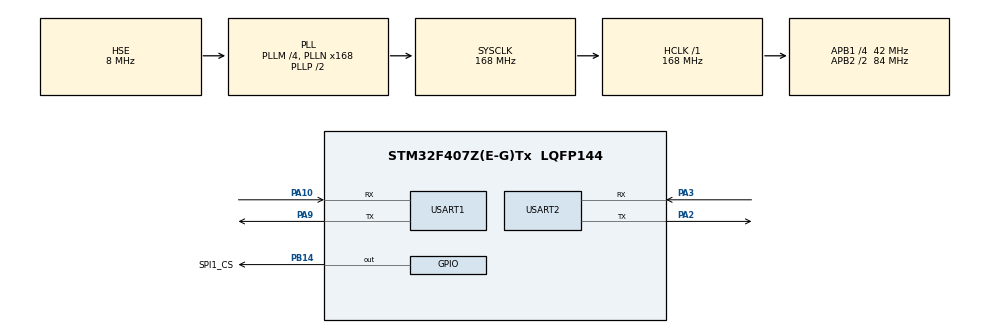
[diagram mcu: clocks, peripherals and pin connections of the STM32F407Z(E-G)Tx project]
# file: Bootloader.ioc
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Dma.Request0=USART1_RX
Dma.USART1_RX.0.Direction=DMA_PERIPH_TO_MEMORY
Dma.USART1_RX.0.FIFOMode=DMA_FIFOMODE_DISABLE
Dma.USART1_RX.0.Instance=DMA2_Stream2
Dma.USART1_RX.0.MemDataAlignment=DMA_MDATAALIGN_BYTE
Dma.USART1_RX.0.MemInc=DMA_MINC_ENABLE
Dma.USART1_RX.0.Mode=DMA_NORMAL
Dma.USART1_RX.0.PeriphDataAlignment=DMA_PDATAALIGN_BYTE
Dma.USART1_RX.0.PeriphInc=DMA_PINC_DISABLE
Dma.USART1_RX.0.Priority=DMA_PRIORITY_LOW
Mcu.Family=STM32F4
Mcu.Name=STM32F407Z(E-G)Tx
Mcu.Package=LQFP144
NVIC.DMA2_Stream2_IRQn=true\:0\:0\:false\:false\:true\:false\:true\:true
NVIC.PriorityGroup=NVIC_PRIORITYGROUP_4
NVIC.USART1_IRQn=true\:0\:0\:false\:false\:true\:true\:true\:true
PA10.Mode=Asynchronous
PA10.Signal=USART1_RX
PA13.Mode=Serial_Wire
PA13.Signal=SYS_JTMS-SWDIO
PA14.Mode=Serial_Wire
PA14.Signal=SYS_JTCK-SWCLK
PA2.Mode=Asynchronous
PA2.Signal=USART2_TX
PA3.Mode=Asynchronous
PA3.Signal=USART2_RX
PA9.Mode=Asynchronous
PA9.Signal=USART1_TX
PB14.GPIO_Label=SPI1_CS
PB14.GPIO_Speed=GPIO_SPEED_FREQ_HIGH
PB14.Signal=GPIO_Output
PB3.Signal=SPI1_SCK
PB4.Signal=SPI1_MISO
PB5.Signal=SPI1_MOSI
PC14-OSC32_IN.Mode=LSE-External-Oscillator
PC14-OSC32_IN.Signal=RCC_OSC32_IN
PC15-OSC32_OUT.Mode=LSE-External-Oscillator
PC15-OSC32_OUT.Signal=RCC_OSC32_OUT
PH0-OSC_IN.Mode=HSE-External-Oscillator
PH0-OSC_IN.Signal=RCC_OSC_IN
PH1-OSC_OUT.Mode=HSE-External-Oscillator
PH1-OSC_OUT.Signal=RCC_OSC_OUT
ProjectManager.HeapSize=0x200
ProjectManager.StackSize=0x400
ProjectManager.TargetToolchain=STM32CubeIDE
RCC.48MHZClocksFreq_Value=84000000
RCC.AHBFreq_Value=168000000
RCC.APB1CLKDivider=RCC_HCLK_DIV4
RCC.APB1Freq_Value=42000000
RCC.APB1TimFreq_Value=84000000
RCC.APB2CLKDivider=RCC_HCLK_DIV2
RCC.APB2Freq_Value=84000000
RCC.APB2TimFreq_Value=168000000
RCC.CortexFreq_Value=168000000
RCC.HCLKFreq_Value=168000000
RCC.HSE_VALUE=8000000
RCC.HSI_VALUE=16000000
RCC.PLLM=4
RCC.PLLN=168
RCC.PLLSourceVirtual=RCC_PLLSOURCE_HSE
RCC.SYSCLKFreq_VALUE=168000000
RCC.SYSCLKSource=RCC_SYSCLKSOURCE_PLLCLK
RCC.VCOOutputFreq_Value=336000000
USART1.VirtualMode=VM_ASYNC
USART2.VirtualMode=VM_ASYNC
board=custom

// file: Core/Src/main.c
/* USER CODE BEGIN Header */
/**
  ******************************************************************************
  * @file           : main.c
  * @brief          : Main program body
  ******************************************************************************
  * @attention
  *
  * Copyright (c) 2025 STMicroelectronics.
  * All rights reserved.
  *
  * This software is licensed under terms that can be found in the LICENSE file
  * in the root directory of this software component.
  * If no LICENSE file comes with this software, it is provided AS-IS.
  *
  ******************************************************************************
  */
/* USER CODE END Header */
#include "main.h"
#include "dma.h"
#include "usart.h"
#include "gpio.h"

/* USER CODE BEGIN Includes */
#include "stdio.h"

#include "UARTConfig.h"
#include "Ymodem.h"
#include "STMFLASH.h"
/* USER CODE END Includes */

void SystemClock_Config(void);

int main(void)
{

  /* MCU Configuration--------------------------------------------------------*/

  /* Reset of all peripherals, Initializes the Flash interface and the Systick. */
  HAL_Init();

  /* Configure the system clock */
  SystemClock_Config();

  /* Initialize all configured peripherals */
  MX_GPIO_Init();
  MX_DMA_Init();
  MX_USART1_UART_Init();
  MX_USART2_UART_Init();
  /* USER CODE BEGIN 2 */
	uartYmodemInit();//初始化串口DMA接收
    printf("=====================================\r\n");
    printf("        Bootloader 启动中         \r\n");
    printf("=====================================\r\n");
	uint32_t time_start=HAL_GetTick();
  /* USER CODE END 2 */

  /* Infinite loop */
  while (1)
  {

    /* USER CODE BEGIN 3 */
	ymodem_InfoAnalysis();
	if((ymodem_Info.state == ymodem_STATE_UPDATE))//代表可以更新
	{
		printf("Data reception completed,Preparing to jump to Application\r\n");
		update_JumpToApplication();
		ymodem_Info.state = ymodem_STATE_IDLE;
	}
	if((HAL_GetTick()-time_start>=5000) && (ymodem_Info.state == ymodem_STATE_IDLE))
	{
		printf("No response after 5 seconds,Preparing to jump to Application\r\n");
		update_JumpToApplication();
	}
  }
  /* USER CODE END 3 */
}

void SystemClock_Config(void)
{
  RCC_OscInitTypeDef RCC_OscInitStruct = {0};
  RCC_ClkInitTypeDef RCC_ClkInitStruct = {0};

  /** Configure the main internal regulator output voltage
  */
  __HAL_RCC_PWR_CLK_ENABLE();
  __HAL_PWR_VOLTAGESCALING_CONFIG(PWR_REGULATOR_VOLTAGE_SCALE1);

  /** Initializes the RCC Oscillators according to the specified parameters
  * in the RCC_OscInitTypeDef structure.
  */
  RCC_OscInitStruct.OscillatorType = RCC_OSCILLATORTYPE_HSE;
  RCC_OscInitStruct.HSEState = RCC_HSE_ON;
  RCC_OscInitStruct.PLL.PLLState = RCC_PLL_ON;
  RCC_OscInitStruct.PLL.PLLSource = RCC_PLLSOURCE_HSE;
  RCC_OscInitStruct.PLL.PLLM = 4;
  RCC_OscInitStruct.PLL.PLLN = 168;
  RCC_OscInitStruct.PLL.PLLP = RCC_PLLP_DIV2;
  RCC_OscInitStruct.PLL.PLLQ = 4;
  if (HAL_RCC_OscConfig(&RCC_OscInitStruct) != HAL_OK)
  {
    Error_Handler();
  }

  /** Initializes the CPU, AHB and APB buses clocks
  */
  RCC_ClkInitStruct.ClockType = RCC_CLOCKTYPE_HCLK|RCC_CLOCKTYPE_SYSCLK
                              |RCC_CLOCKTYPE_PCLK1|RCC_CLOCKTYPE_PCLK2;
  RCC_ClkInitStruct.SYSCLKSource = RCC_SYSCLKSOURCE_PLLCLK;
  RCC_ClkInitStruct.AHBCLKDivider = RCC_SYSCLK_DIV1;
  RCC_ClkInitStruct.APB1CLKDivider = RCC_HCLK_DIV4;
  RCC_ClkInitStruct.APB2CLKDivider = RCC_HCLK_DIV2;

  if (HAL_RCC_ClockConfig(&RCC_ClkInitStruct, FLASH_LATENCY_5) != HAL_OK)
  {
    Error_Handler();
  }
}

void Error_Handler(void)
{
  __disable_irq();
  while (1)
  {
  }
}
